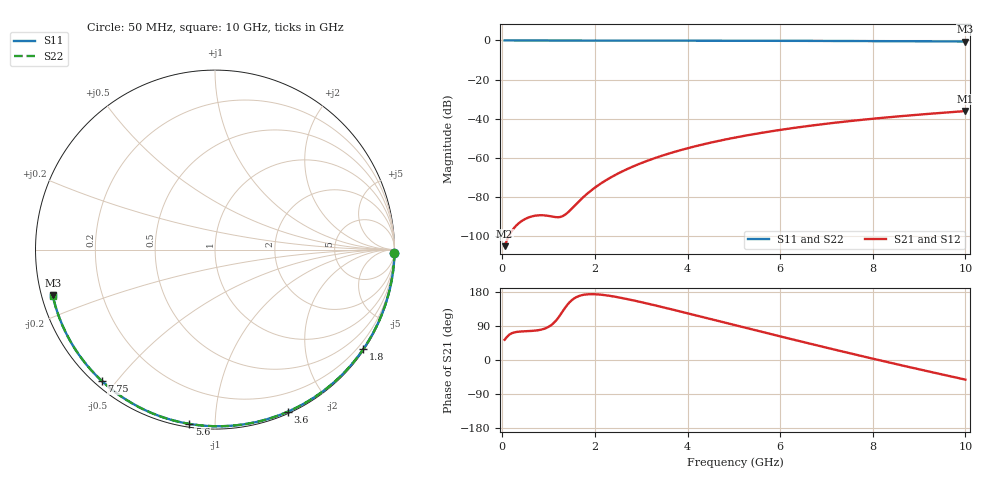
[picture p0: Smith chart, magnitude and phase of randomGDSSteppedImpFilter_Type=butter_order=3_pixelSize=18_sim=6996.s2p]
! freq	dB(S11)	phase(S11)	dB(S12)	phase(S12)
!  dB(S21)	phase(S21)	dB(S22)	phase(S22)
!S-par simulation data
#  GHz  S  DB  R 50
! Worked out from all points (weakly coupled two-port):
!   200 points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, 50 MHz to 10 GHz, reference 50 ohm
!   highest |S21| = -36.05 dB at 10 GHz (marker M1); lowest = -105.0 dB at 50 MHz (marker M2)
!   lowest |S11| = -0.5 dB at 10 GHz (marker M3), VSWR 32.17, Z = 1.58 - j6.92 ohm
!   |S11| at or under -10 dB: nowhere
!   |S22| runs from -0.5 to 0.0 dB; largest |S21 - S12| = 0
!   S11 on the Smith chart (normalised r, x): 50 MHz: open; 1.8 GHz: 0.03, -3.28; 3.6 GHz: 0.02, -1.54; 5.6 GHz: 0.02, -0.86; 7.75 GHz: 0.02, -0.46; 10 GHz: 0.03, -0.14
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0.05  -0.00 -1.0  -105.02 53.4  -105.02 53.4  -0.00 -1.0
0.45  -0.01 -8.6  -91.72 75.6  -91.72 75.6  -0.01 -8.6
0.85  -0.02 -16.2  -89.22 80.5  -89.22 80.5  -0.02 -16.2
1.3  -0.03 -24.7  -89.73 127.8  -89.73 127.8  -0.03 -24.6
1.75  -0.04 -33.0  -79.97 171.9  -79.97 171.9  -0.04 -33.0
1.8  -0.04 -33.9  -78.92 172.9  -78.92 172.9  -0.04 -33.9
1.95  -0.05 -36.7  -76.02 173.7  -76.02 173.7  -0.05 -36.7
2.1  -0.05 -39.4  -73.47 172.7  -73.47 172.7  -0.05 -39.4
2.45  -0.06 -45.7  -68.54 166.6  -68.54 166.6  -0.06 -45.7
2.65  -0.06 -49.3  -66.18 162.0  -66.18 162.0  -0.06 -49.3
2.9  -0.07 -53.7  -63.57 155.4  -63.57 155.4  -0.07 -53.7
3.4  -0.08 -62.4  -59.22 141.2  -59.22 141.2  -0.08 -62.4
3.6  -0.09 -65.9  -57.72 135.3  -57.72 135.3  -0.09 -65.8
4.3  -0.11 -77.6  -53.26 114.1  -53.26 114.1  -0.11 -77.6
5.05  -0.14 -89.8  -49.47 91.2  -49.47 91.2  -0.14 -89.7
5.6  -0.16 -98.4  -47.16 74.5  -47.16 74.5  -0.16 -98.4
6.15  -0.19 -106.9  -45.14 57.8  -45.14 57.8  -0.19 -106.9
6.7  -0.22 -115.2  -43.38 41.4  -43.38 41.4  -0.22 -115.2
7.75  -0.30 -130.8  -40.55 10.7  -40.55 10.7  -0.30 -130.7
8.35  -0.35 -139.6  -39.19 -6.4  -39.19 -6.4  -0.35 -139.6
9.2  -0.44 -152.1  -37.49 -30.1  -37.49 -30.1  -0.44 -152.1
10  -0.54 -164.2  -36.05 -51.8  -36.05 -51.8  -0.54 -164.2
